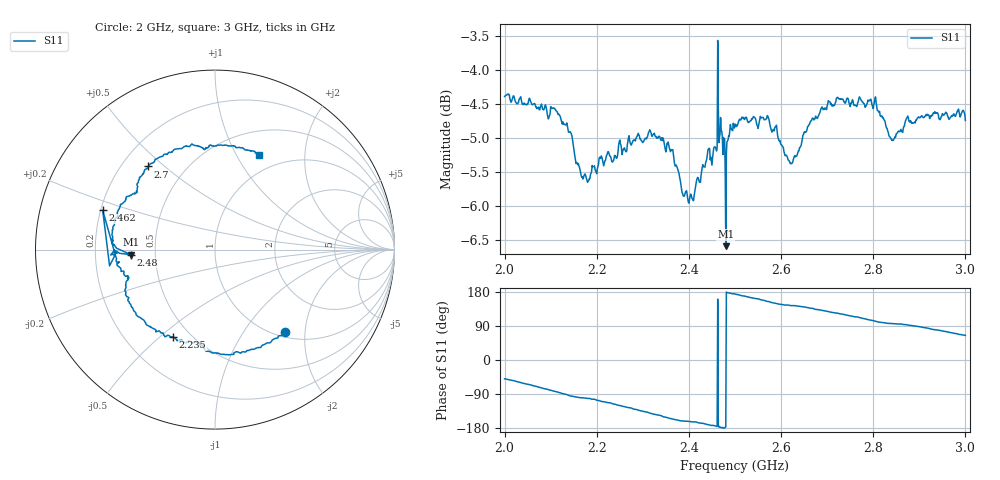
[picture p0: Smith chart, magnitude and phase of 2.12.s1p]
!Agilent Technologies,E8364A,US41440144,A.06.04.32
!Agilent E8364A: A.06.04.32
!Date: Friday, February 02, 2018 10:55:31
!Correction: S22(Full 2 Port(1,2))
!S1P File: Measurement: S22:
# Hz S  dB  R 50
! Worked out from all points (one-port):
!   801 points, 2 GHz to 3 GHz, reference 50 ohm
!   lowest |S11| = -6.6 dB at 2.48 GHz (marker M1), VSWR 2.76, Z = 18.1 - j1.32 ohm
!   |S11| at or under -10 dB: nowhere
!   S11 on the Smith chart (normalised r, x): 2 GHz: 1.09, -1.58; 2.235 GHz: 0.40, -0.55; 2.462 GHz: 0.21, +0.16; 2.48 GHz: 0.36, -0.03; 2.7 GHz: 0.31, +0.44; 3 GHz: 0.79, +1.24
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2e9  -4.39 -49.7
2.08375e9  -4.58 -75.0
2.125e9  -4.79 -88.5
2.145e9  -4.94 -95.3
2.17e9  -5.60 -99.9
2.235e9  -5.34 -115.8
2.25e9  -5.03 -119.9
2.32e9  -4.98 -141.6
2.375e9  -5.44 -158.3
2.405e9  -5.84 -163.2
2.455e9  -5.13 -173.1
2.4575e9  -5.14 -173.9
2.4625e9  -3.57 160.6
2.4675e9  -4.94 -177.4
2.46875e9  -4.70 -177.1
2.48e9  -6.59 -176.5
2.5e9  -4.79 174.1
2.54125e9  -4.69 162.9
2.5875e9  -4.83 150.1
2.625e9  -5.36 143.4
2.665e9  -4.75 136.4
2.7e9  -4.52 128.8
2.75e9  -4.54 116.7
2.81375e9  -4.61 99.8
2.84125e9  -5.03 96.1
2.875e9  -4.68 92.3
2.935e9  -4.64 79.7
3e9  -4.74 65.0
